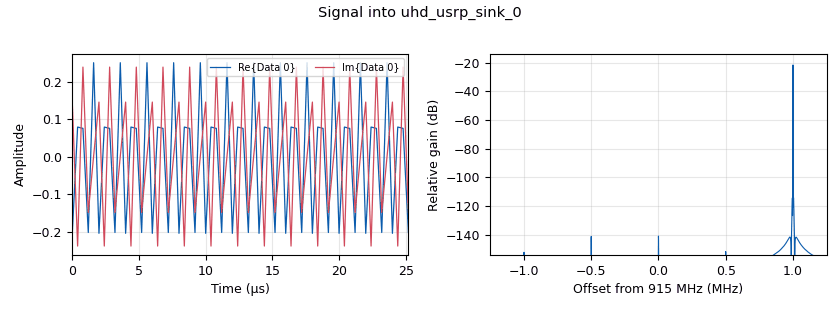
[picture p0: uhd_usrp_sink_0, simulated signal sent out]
options:
  parameters:
    author: ucanlab
    generate_options: qt_gui
    id: SDR_Hardware_01
    output_language: python
    title: 'GR Tutorial: USRPs'
  states: {}

blocks:
- name: samp_rate
  id: variable
  parameters:
    value: 2.5e6
  states: {}
- name: analog_sig_source_x_1
  id: analog_sig_source_x
  parameters:
    amp: '0.25'
    freq: '1000000'
    offset: '0'
    phase: '0'
    samp_rate: samp_rate
    type: complex
    waveform: analog.GR_COS_WAVE
  states: {}
- name: note_1_0
  id: note
  parameters:
    note: Transmitter
  states: {}
- name: note_1_0_0
  id: note
  parameters:
    note: Receiver
  states: {}
- name: qtgui_sink_x_0
  id: qtgui_sink_x
  parameters:
    bw: samp_rate
    fc: 915e6
    fftsize: '1024'
    name: '"Rx Signal"'
    plotconst: 'False'
    showrf: 'True'
    type: complex
    wintype: firdes.WIN_BLACKMAN_hARRIS
  states: {}
- name: rx_addr
  id: parameter
  parameters:
    label: RX Address
    short_id: r
    type: str
    value: '3279500'
  states: {}
- name: tx_addr
  id: parameter
  parameters:
    label: TX Address
    short_id: t
    type: str
    value: '3279417'
  states: {}
- name: uhd_usrp_sink_0
  id: uhd_usrp_sink
  parameters:
    ant0: TX/RX
    center_freq0: '915000000'
    dev_addr: '"serial=" + tx_addr'
    dev_args: '""'
    gain0: '35'
    len_tag_name: ''
    norm_gain0: 'False'
    samp_rate: samp_rate
    sync: none
    type: fc32
  states: {}
- name: uhd_usrp_source_0
  id: uhd_usrp_source
  parameters:
    ant0: RX2
    center_freq0: 915e6
    dc_offs_enb0: '""'
    dev_addr: '"serial=" + rx_addr'
    dev_args: '""'
    gain0: '40'
    iq_imbal_enb0: '""'
    norm_gain0: 'False'
    samp_rate: samp_rate
    sync: none
    type: fc32
  states: {}

connections:
- [analog_sig_source_x_1, '0', uhd_usrp_sink_0, '0']
- [uhd_usrp_source_0, '0', qtgui_sink_x_0, '0']

metadata:
  file_format: 1
